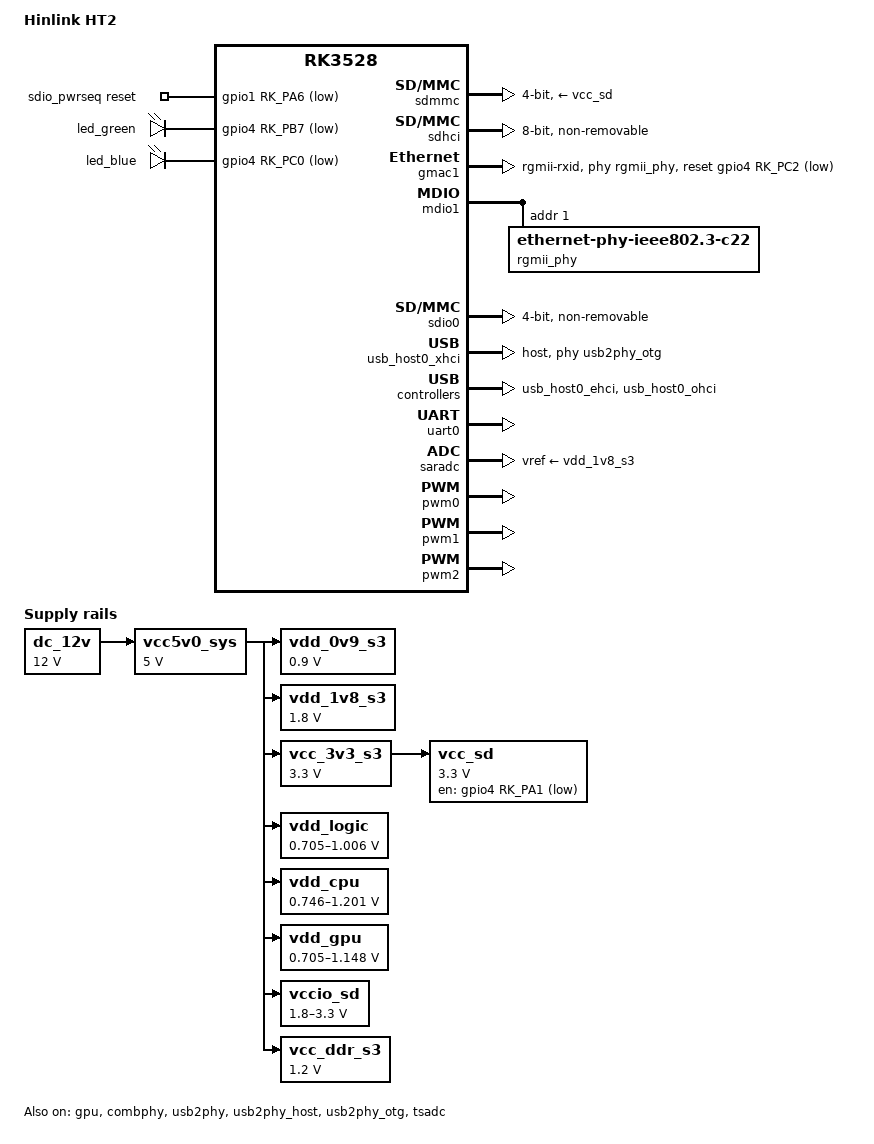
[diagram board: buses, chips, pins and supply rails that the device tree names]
// SPDX-License-Identifier: (GPL-2.0+ OR MIT)
/*
 * Copyright (c) 2022 Rockchip Electronics Co., Ltd.
 * Copyright (c) 2024 Modified for Linux 6.12 Mainline
 * Copyright (c) 2024 https://github.com/xf110
*/

/dts-v1/;

#include <dt-bindings/gpio/gpio.h>
#include <dt-bindings/input/input.h>
#include <dt-bindings/pinctrl/rockchip.h>
#include <dt-bindings/interrupt-controller/irq.h>
#include <dt-bindings/interrupt-controller/arm-gic.h>
#include "rk3528.dtsi"

/ {
	model = "Hinlink HT2";
	compatible = "hinlink,ht2", "rockchip,rk3528";

	aliases {
		ethernet0 = &gmac1;
		mmc0 = &sdmmc;
		mmc1 = &sdhci;
		serial0 = &uart0;
	};

	chosen {
		stdout-path = "serial0:1500000n8";
		bootargs = "earlycon=uart8250,mmio32,0xff9f0000 console=ttyS0,1500000";
	};

	reserved-memory {
		#address-cells = <2>;
		#size-cells = <2>;
		ranges;

		linux,cma {
			compatible = "shared-dma-pool";
			reusable;
			size = <0x0 0x2000000>;
			linux,cma-default;
		};
	};

	/* 供电调节器定义：注意 label: 必须与 dtsi 中的引用一致 */
	dc_12v: dc-12v-regulator {
		compatible = "regulator-fixed";
		regulator-name = "dc_12v";
		regulator-always-on;
		regulator-boot-on;
		regulator-min-microvolt = <12000000>;
		regulator-max-microvolt = <12000000>;
	};

	vcc5v0_sys: vcc5v0-sys-regulator {
		compatible = "regulator-fixed";
		regulator-name = "vcc5v0_sys";
		regulator-always-on;
		regulator-boot-on;
		regulator-min-microvolt = <5000000>;
		regulator-max-microvolt = <5000000>;
		vin-supply = <&dc_12v>;
	};

	vdd_0v9_s3: vdd-0v9-s3 {
		compatible = "regulator-fixed";
		regulator-name = "vdd_0v9_s3";
		regulator-always-on;
		regulator-boot-on;
		regulator-min-microvolt = <900000>;
		regulator-max-microvolt = <900000>;
		vin-supply = <&vcc5v0_sys>;
	};

	vdd_1v8_s3: vdd-1v8-s3 {
		compatible = "regulator-fixed";
		regulator-name = "vdd_1v8_s3";
		regulator-always-on;
		regulator-boot-on;
		regulator-min-microvolt = <1800000>;
		regulator-max-microvolt = <1800000>;
		vin-supply = <&vcc5v0_sys>;
	};

	vcc_3v3_s3: vcc-3v3-s3 {
		compatible = "regulator-fixed";
		regulator-name = "vcc_3v3_s3";
		regulator-always-on;
		regulator-boot-on;
		regulator-min-microvolt = <3300000>;
		regulator-max-microvolt = <3300000>;
		vin-supply = <&vcc5v0_sys>;
	};

	vdd_logic: vdd-logic {
		compatible = "pwm-regulator";
		pwms = <&pwm2 0 5000 1>;
		regulator-name = "vdd_logic";
		regulator-min-microvolt = <705000>;
		regulator-max-microvolt = <1006000>;
		regulator-init-microvolt = <900000>;
		regulator-always-on;
		regulator-boot-on;
		pwm-supply = <&vcc5v0_sys>;
	};

	vdd_cpu: vdd-cpu {
		compatible = "pwm-regulator";
		pwms = <&pwm1 0 5000 1>;
		regulator-name = "vdd_cpu";
		regulator-min-microvolt = <746000>;
		regulator-max-microvolt = <1201000>;
		regulator-init-microvolt = <953000>;
		regulator-always-on;
		regulator-boot-on;
		pwm-supply = <&vcc5v0_sys>;
	};

	vdd_gpu: vdd-gpu {
		compatible = "pwm-regulator";
		pwms = <&pwm0 0 5000 1>;
		regulator-name = "vdd_gpu";
		regulator-min-microvolt = <705000>;
		regulator-max-microvolt = <1148000>;
		regulator-init-microvolt = <900000>;
		regulator-always-on;
		regulator-boot-on;
		pwm-supply = <&vcc5v0_sys>;
	};

	vccio_sd: vccio-sd-regulator {
		compatible = "regulator-gpio";
		regulator-name = "vccio_sd";
		regulator-min-microvolt = <1800000>;
		regulator-max-microvolt = <3300000>;
		gpios = <&gpio4 RK_PB6 GPIO_ACTIVE_HIGH>;
		vin-supply = <&vcc5v0_sys>;
		states = <1800000 0x0>, <3300000 0x1>;
	};

	vcc_sd: vcc-sd-regulator {
		compatible = "regulator-fixed";
		gpio = <&gpio4 RK_PA1 GPIO_ACTIVE_LOW>;
		regulator-name = "vcc_sd";
		regulator-min-microvolt = <3300000>;
		regulator-max-microvolt = <3300000>;
		vin-supply = <&vcc_3v3_s3>;
	};

	vcc_ddr_s3: vcc-ddr-s3 {
		compatible = "regulator-fixed";
		regulator-name = "vcc_ddr_s3";
		regulator-always-on;
		regulator-boot-on;
		regulator-min-microvolt = <1200000>;
		regulator-max-microvolt = <1200000>;
		vin-supply = <&vcc5v0_sys>;
	};

	sdio_pwrseq: sdio-pwrseq {
		compatible = "mmc-pwrseq-simple";
		pinctrl-names = "default";
		pinctrl-0 = <&wifi_enable_h>;
		reset-gpios = <&gpio1 RK_PA6 GPIO_ACTIVE_LOW>;
	};

	leds: gpio-leds {
		compatible = "gpio-leds";
		pinctrl-names = "default";
		pinctrl-0 = <&led_green_en>, <&led_blue_en>;

		work {
			label = "led_green";
			gpios = <&gpio4 RK_PB7 GPIO_ACTIVE_LOW>;
			linux,default-trigger = "heartbeat";
		};

		wlan {
			label = "led_blue";
			gpios = <&gpio4 RK_PC0 GPIO_ACTIVE_LOW>;
			linux,default-trigger = "default-on";
		};
	};
};

/* --- 硬件节点覆盖 --- */

&cpu0 {
	cpu-supply = <&vdd_cpu>;
};

&gpu {
	mali-supply = <&vdd_gpu>;
	status = "okay";
};

&sdmmc {
	bus-width = <4>;
	cap-sd-highspeed;
	disable-wp;
	pinctrl-names = "default";
	pinctrl-0 = <&sdmmc_clk &sdmmc_cmd &sdmmc_det &sdmmc_bus4>;
	vmmc-supply = <&vcc_sd>;
	vqmmc-supply = <&vccio_sd>;
	status = "okay";
};

&sdhci {
	bus-width = <8>;
	non-removable;
	mmc-hs400-1_8v;
	mmc-hs400-enhanced-strobe;
	status = "okay";
};

&gmac1 {
	phy-mode = "rgmii-rxid";
	clock_in_out = "output";
	snps,reset-gpio = <&gpio4 RK_PC2 GPIO_ACTIVE_LOW>;
	snps,reset-active-low;
	snps,reset-delays-us = <0 20000 100000>;
	pinctrl-names = "default";
	pinctrl-0 = <&rgmii_miim &rgmii_tx_bus2 &rgmii_rx_bus2 &rgmii_rgmii_clk &rgmii_rgmii_bus>;
	phy-handle = <&rgmii_phy>;
	status = "okay";
};

&mdio1 {
	rgmii_phy: ethernet-phy@1 {
		compatible = "ethernet-phy-ieee802.3-c22";
		reg = <0x1>;
	};
};

&sdio0 {
	bus-width = <4>;
	cap-sdio-irq;
	keep-power-in-suspend;
	non-removable;
	mmc-pwrseq = <&sdio_pwrseq>;
	pinctrl-names = "default";
	pinctrl-0 = <&sdio0_bus4 &sdio0_cmd &sdio0_clk>;
	status = "okay";
};

&combphy {
    rockchip,enable-ssc;
    rockchip,u3phy-only;
    status = "okay";
};

&usb2phy {
	status = "okay";
};

&usb2phy_host {
	status = "okay";
};

&usb2phy_otg {
	status = "okay";
};

&usb_host0_xhci {
    dr_mode = "host";
    phys = <&usb2phy_otg>, <&combphy PHY_TYPE_USB3>;
    phy-names = "usb2-phy", "usb3-phy";
    snps,dis_u2_susphy_quirk;
    snps,dis_u3_susphy_quirk;
    snps,dis-del-phy-power-on-res-quirk;
    snps,tx-fifo-resize;
	status = "okay";
};

&usb_host0_ehci {
	status = "okay";
};

&usb_host0_ohci {
	status = "okay";
};

&uart0 {
	status = "okay";
	pinctrl-0 = <&uart0m0_xfer>;
};

&tsadc {
	status = "okay";
};

&saradc {
	status = "okay";
	vref-supply = <&vdd_1v8_s3>;
};

&pwm0 { status = "okay"; };
&pwm1 { status = "okay"; };
&pwm2 { status = "okay"; };

/* --- Pinctrl --- */
&pinctrl {
	leds {
		led_green_en: led-green-en {
			rockchip,pins = <4 RK_PB7 RK_FUNC_GPIO &pcfg_pull_none>;
		};
		led_blue_en: led-blue-en {
			rockchip,pins = <4 RK_PC0 RK_FUNC_GPIO &pcfg_pull_none>;
		};
	};

	sdio-pwrseq {
		wifi_enable_h: wifi-enable-h {
			rockchip,pins = <1 RK_PA6 RK_FUNC_GPIO &pcfg_pull_up>;
		};
	};
};
